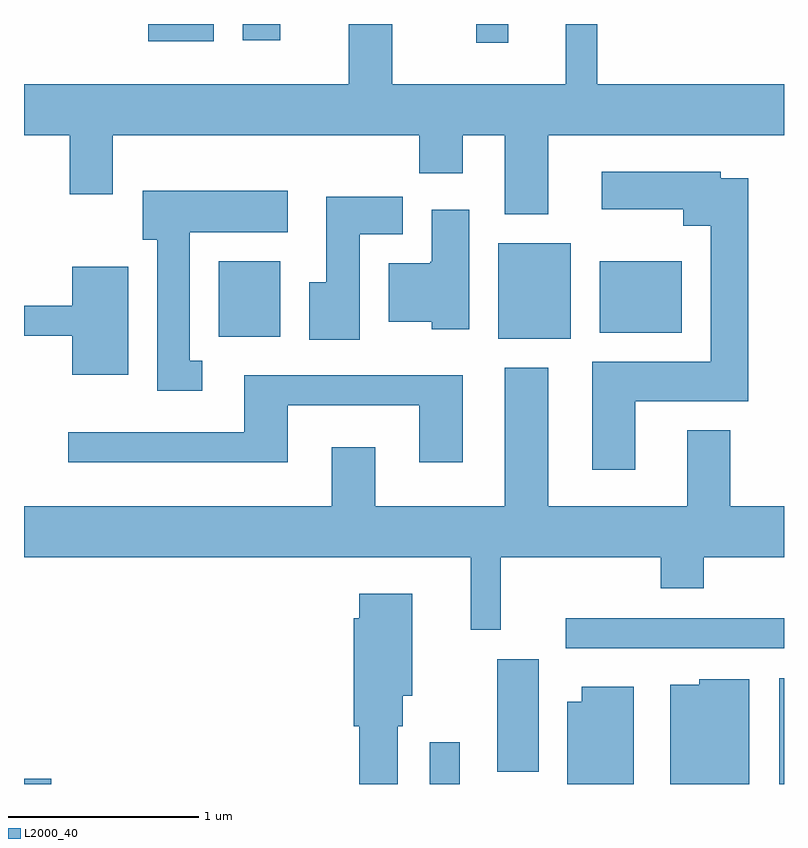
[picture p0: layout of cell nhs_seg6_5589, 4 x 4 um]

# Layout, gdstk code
import gdstk
lib = gdstk.Library(unit=1e-6, precision=1e-09)
def R(c, l, rs):  # rectangles x0, y0, x1, y1
    for r in rs: c.add(gdstk.rectangle(r[:2], r[2:], *l))
def P(c, l, *ps):  # polygons
    for p in ps: c.add(gdstk.Polygon(p, *l))
L2000_40 = (2000, 40)

nhs_seg6_5589 = lib.new_cell('nhs_seg6_5589')
R(nhs_seg6_5589, L2000_40, [(355.611,1562.162,355.754,1562.189), (357.746,1562.162,357.904,1562.383), (359.586,1562.162,359.611,1562.719), (358.101,1562.226,358.319,1562.819), (358.463,1562.876,359.611,1563.034), (358.106,1564.506,358.489,1565.009), (356.636,1564.516,356.959,1564.914), (358.641,1564.536,359.074,1564.914), (357.991,1566.063,358.159,1566.162), (356.266,1566.071,356.609,1566.162), (356.761,1566.076,356.959,1566.162), (355.611,1566.161,355.708,1566.162)])
P(nhs_seg6_5589, L2000_40, [(358.369,1565.576),(359.611,1565.576),(359.611,1565.844),(358.629,1565.844),(358.629,1566.162),(358.461,1566.162),(358.461,1565.844),(357.549,1565.844),(357.549,1566.162),(357.321,1566.162),(357.321,1565.844),(355.611,1565.844),(355.611,1565.576),(355.851,1565.576),(355.851,1565.266),(356.079,1565.266),(356.079,1565.576),(357.691,1565.576),(357.691,1565.376),(357.919,1565.376),(357.919,1565.576),(358.141,1565.576),(358.141,1565.161),(358.369,1565.161)],
  [(358.829,1564.176),(359.424,1564.176),(359.424,1565.349),(359.279,1565.349),(359.279,1565.384),(358.651,1565.384),(358.651,1565.186),(359.081,1565.186),(359.081,1565.101),(359.226,1565.101),(359.226,1564.384),(358.601,1564.384),(358.601,1563.816),(358.829,1563.816)],
  [(356.548,1564.389),(356.484,1564.389),(356.484,1565.066),(356.999,1565.066),(356.999,1565.284),(356.236,1565.284),(356.236,1565.026),(356.311,1565.026),(356.311,1564.231),(356.548,1564.231)],
  [(357.379,1565.056),(357.604,1565.056),(357.604,1565.254),(357.201,1565.254),(357.201,1564.804),(357.111,1564.804),(357.111,1564.501),(357.379,1564.501)],
  [(357.954,1565.184),(357.756,1565.184),(357.756,1564.91),(357.75,1564.91),(357.75,1564.904),(357.531,1564.904),(357.531,1564.596),(357.756,1564.596),(357.756,1564.556),(357.954,1564.556)],
  [(356.159,1564.884),(355.866,1564.884),(355.866,1564.679),(355.611,1564.679),(355.611,1564.521),(355.866,1564.521),(355.866,1564.316),(356.159,1564.316)],
  [(357.459,1563.934),(357.231,1563.934),(357.231,1563.624),(355.611,1563.624),(355.611,1563.356),(357.961,1563.356),(357.961,1562.973),(358.119,1562.973),(358.119,1563.356),(358.961,1563.356),(358.961,1563.191),(359.189,1563.191),(359.189,1563.356),(359.611,1563.356),(359.611,1563.624),(359.329,1563.624),(359.329,1564.024),(359.101,1564.024),(359.101,1563.624),(358.369,1563.624),(358.369,1564.354),(358.141,1564.354),(358.141,1563.624),(357.459,1563.624)],
  [(356.999,1564.156),(357.691,1564.156),(357.691,1563.856),(357.919,1563.856),(357.919,1564.314),(356.771,1564.314),(356.771,1564.014),(355.843,1564.014),(355.843,1563.856),(356.999,1563.856)],
  [(357.579,1562.466),(357.604,1562.466),(357.604,1562.626),(357.654,1562.626),(357.654,1563.164),(357.376,1563.164),(357.376,1563.034),(357.346,1563.034),(357.346,1562.466),(357.376,1562.466),(357.376,1562.162),(357.579,1562.162)],
  [(359.429,1562.714),(359.166,1562.714),(359.166,1562.684),(359.011,1562.684),(359.011,1562.162),(359.429,1562.162)],
  [(358.819,1562.674),(358.546,1562.674),(358.546,1562.594),(358.471,1562.594),(358.471,1562.162),(358.819,1562.162)])

lib.write_gds('nhs_seg6_5589.gds')
